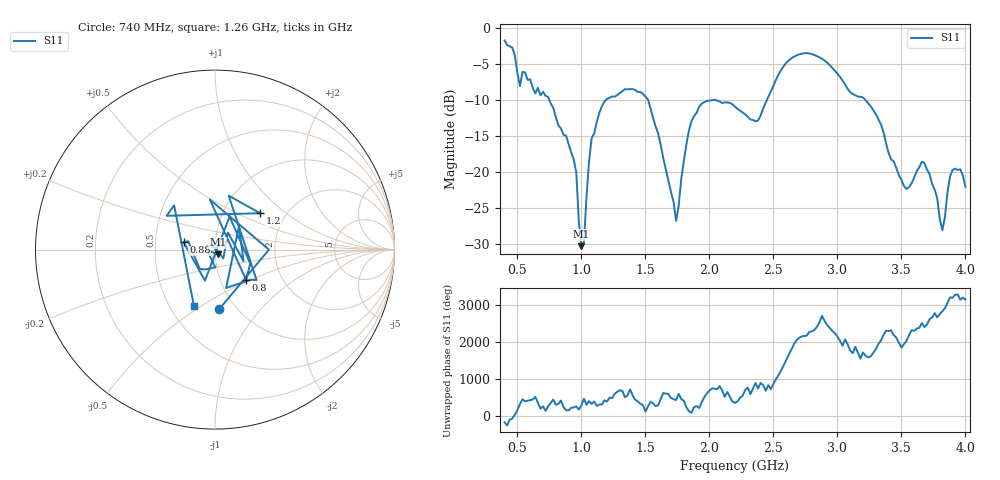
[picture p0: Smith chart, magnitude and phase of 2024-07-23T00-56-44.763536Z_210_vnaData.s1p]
!Created with skrf (http://scikit-rf.org).
# Hz S RI R 50.0
!freq ReS11 ImS11
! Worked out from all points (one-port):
!   181 points, 400 MHz to 4 GHz, reference 50 ohm
!   lowest |S11| = -30.3 dB at 1 GHz (marker M1), VSWR 1.06, Z = 51.5 - j2.71 ohm
!   |S11| at or under -10 dB: 750.2 MHz to 1.19 GHz (439.4 MHz wide, 45.3 % of centre); 1.521 GHz to 2.023 GHz (501.9 MHz wide, 28.3 % of centre); 3.221 GHz to end of sweep (the widest 3 of 4)
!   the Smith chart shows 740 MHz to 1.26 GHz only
!   S11 on the Smith chart (normalised r, x): 740 MHz: 0.83, -0.62; 800 MHz: 1.32, -0.47; 880 MHz: 0.70, +0.06; 1.2 GHz: 1.49, +0.67; 1.26 GHz: 0.66, -0.47
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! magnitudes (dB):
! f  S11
! 400 MHz  -1.7
! 520 MHz  -8.0
! 740 MHz  -9.5
! 800 MHz  -12.4
! 860 MHz  -14.8
! 880 MHz  -14.9
! 960 MHz  -20.1
! 1 GHz  -30.3
! 1.02 GHz  -29.7
! 1.08 GHz  -15.3
! 1.2 GHz  -9.8
! 1.26 GHz  -9.5
! 1.3 GHz  -9.0
! 1.52 GHz  -9.9
! 1.74 GHz  -26.8
! 1.76 GHz  -24.7
! 1.84 GHz  -14.2
! 1.92 GHz  -10.9
! 2.2 GHz  -10.9
! 2.38 GHz  -12.8
! 2.66 GHz  -3.9
! 3.1 GHz  -8.9
! 3.3 GHz  -11.9
! 3.56 GHz  -22.1
! 3.68 GHz  -18.7
! 3.82 GHz  -28.1
! 3.9 GHz  -19.7
! 4 GHz  -22.0
